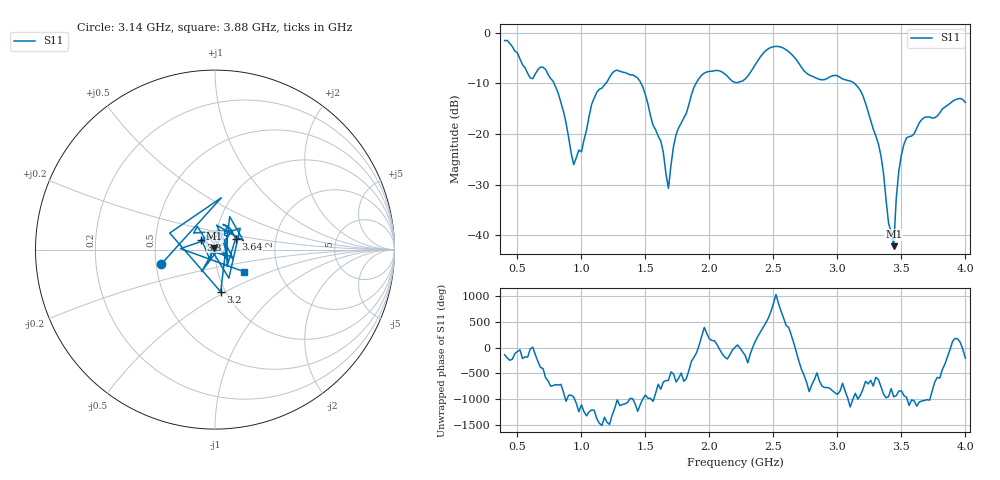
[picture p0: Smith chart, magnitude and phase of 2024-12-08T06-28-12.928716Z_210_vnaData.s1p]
!Created with skrf (http://scikit-rf.org).
# Hz S RI R 50.0
!freq ReS11 ImS11
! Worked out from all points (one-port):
!   181 points, 400 MHz to 4 GHz, reference 50 ohm
!   lowest |S11| = -42.2 dB at 3.44 GHz (marker M1), VSWR 1.02, Z = 49.5 + j0.618 ohm
!   |S11| at or under -10 dB: 786.6 MHz to 1.191 GHz (404 MHz wide, 40.9 % of centre); 1.466 GHz to 1.896 GHz (429.4 MHz wide, 25.5 % of centre); 3.132 GHz to end of sweep
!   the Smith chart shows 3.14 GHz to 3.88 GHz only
!   S11 on the Smith chart (normalised r, x): 3.14 GHz: 0.53, -0.10; 3.2 GHz: 0.95, -0.47; 3.3 GHz: 0.85, +0.10; 3.64 GHz: 1.25, +0.15; 3.88 GHz: 1.33, -0.34
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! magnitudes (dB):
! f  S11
! 400 MHz  -1.5
! 600 MHz  -8.9
! 720 MHz  -7.2
! 860 MHz  -15.5
! 940 MHz  -26.1
! 1.12 GHz  -11.8
! 1.3 GHz  -7.6
! 1.48 GHz  -10.7
! 1.62 GHz  -21.4
! 1.68 GHz  -30.7
! 1.72 GHz  -22.4
! 1.76 GHz  -18.8
! 1.94 GHz  -8.4
! 2.2 GHz  -9.8
! 2.48 GHz  -2.9
! 2.66 GHz  -4.7
! 3.1 GHz  -9.5
! 3.14 GHz  -10.2
! 3.2 GHz  -12.5
! 3.3 GHz  -20.4
! 3.34 GHz  -24.3
! 3.4 GHz  -37.7
! 3.44 GHz  -42.2
! 3.48 GHz  -27.3
! 3.56 GHz  -20.5
! 3.64 GHz  -17.8
! 3.88 GHz  -14.0
! 4 GHz  -13.8
